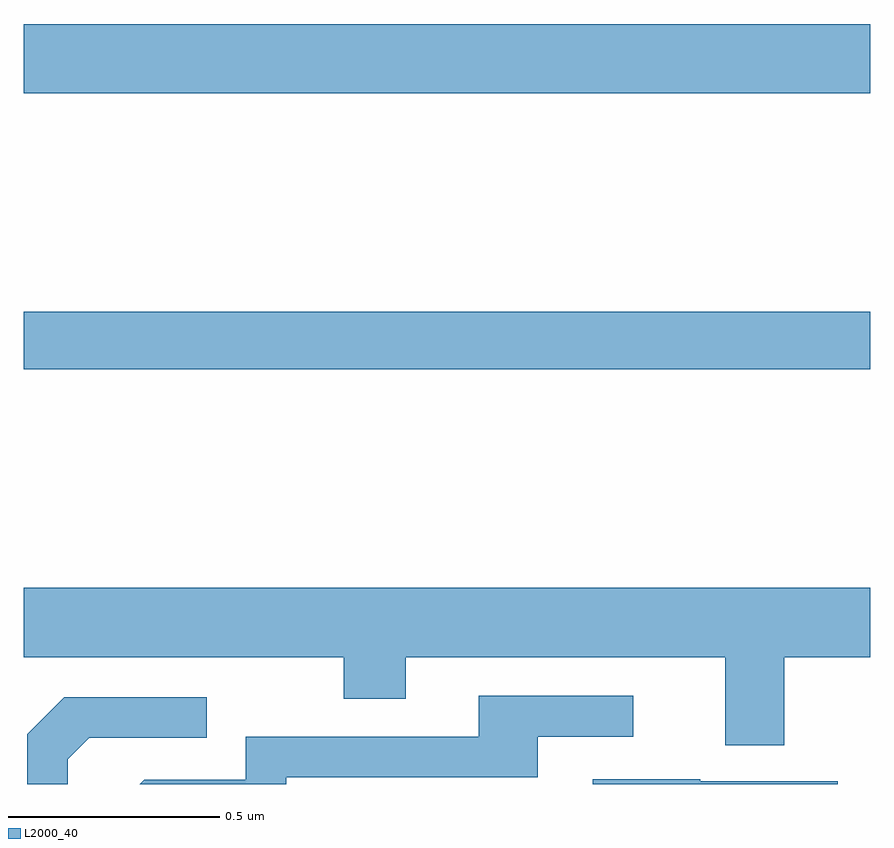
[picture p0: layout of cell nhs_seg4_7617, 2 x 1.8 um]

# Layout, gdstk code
import gdstk
lib = gdstk.Library(unit=1e-6, precision=1e-09)
def R(c, l, rs):  # rectangles x0, y0, x1, y1
    for r in rs: c.add(gdstk.rectangle(r[:2], r[2:], *l))
def P(c, l, *ps):  # polygons
    for p in ps: c.add(gdstk.Polygon(p, *l))
L2000_40 = (2000, 40)

nhs_seg4_7617 = lib.new_cell('nhs_seg4_7617')
R(nhs_seg4_7617, L2000_40, [(205,750.88,207,751.016), (205,751.532,207,751.696)])
P(nhs_seg4_7617, L2000_40, [(206.797,750.2),(207,750.2),(207,750.364),(205,750.364),(205,750.2),(205.756,750.2),(205.756,750.101),(205.903,750.101),(205.903,750.2),(206.657,750.2),(206.657,749.992),(206.797,749.992)],
  [(205.62,749.916),(206.215,749.916),(206.215,750.012),(206.44,750.012),(206.44,750.108),(206.075,750.108),(206.075,750.012),(205.524,750.012),(205.524,749.91),(205.284,749.91),(205.274,749.9),(205.62,749.9)],
  [(205.104,749.958),(205.155,750.009),(205.432,750.009),(205.432,750.105),(205.095,750.105),(205.008,750.018),(205.008,749.9),(205.104,749.9)],
  [(206.923,749.907),(206.599,749.907),(206.599,749.911),(206.345,749.911),(206.345,749.9),(206.923,749.9)])

lib.write_gds('nhs_seg4_7617.gds')
